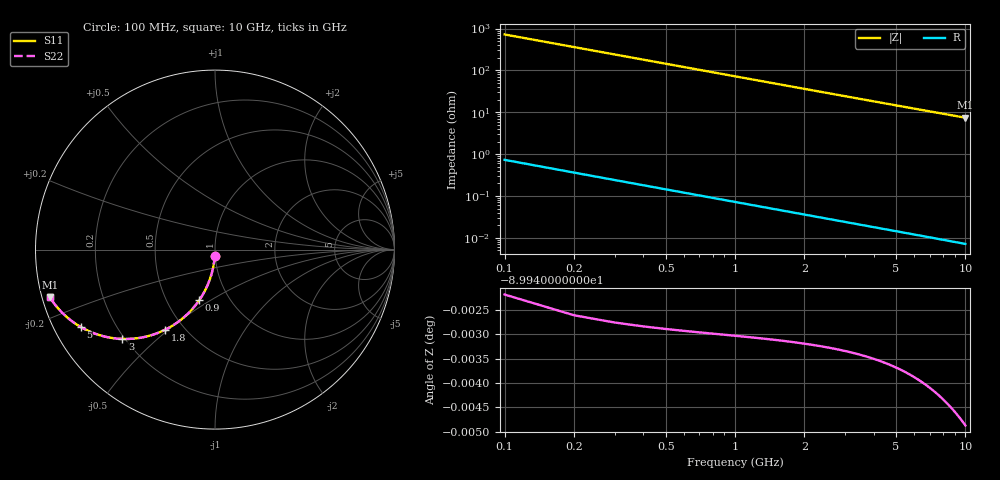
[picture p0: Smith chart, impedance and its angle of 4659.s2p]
# Hz S RI R 50.00
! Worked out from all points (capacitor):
!   100 points, 100 MHz to 10 GHz, reference 50 ohm
!   read as one part in shunt: C = 2.2 pF near 100 MHz
!   lowest |Z| = 7.43 ohm at 10 GHz (marker M1)
!   S11 on the Smith chart (normalised r, x): 100 MHz: 1.00, -0.07; 900 MHz: 0.72, -0.45; 1.8 GHz: 0.39, -0.49; 3 GHz: 0.19, -0.39; 5 GHz: 0.08, -0.27; 10 GHz: 0.02, -0.14
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1e8  -0.00122 -0.0345  0.9988 -0.0346  0.9988 -0.0346  -0.00122 -0.0345
2e8  -0.00481 -0.0687  0.9952 -0.0689  0.9952 -0.0689  -0.00481 -0.0687
3e8  -0.0107 -0.1024  0.9893 -0.1027  0.9893 -0.1027  -0.0107 -0.1024
4e8  -0.0189 -0.1354  0.9811 -0.1357  0.9811 -0.1357  -0.0189 -0.1354
5e8  -0.0291 -0.1674  0.9709 -0.1679  0.9709 -0.1679  -0.0291 -0.1674
6e8  -0.0413 -0.1983  0.9586 -0.1989  0.9586 -0.1989  -0.0413 -0.1983
7e8  -0.0554 -0.2279  0.9446 -0.2286  0.9446 -0.2286  -0.0554 -0.2279
9e8  -0.0882 -0.2827  0.9117 -0.2836  0.9117 -0.2836  -0.0882 -0.2827
1.1e9  -0.1262 -0.331  0.8738 -0.3321  0.8738 -0.3321  -0.1262 -0.331
1.3e9  -0.1677 -0.3724  0.8323 -0.3737  0.8323 -0.3737  -0.1677 -0.3724
1.5e9  -0.2113 -0.407  0.7887 -0.4084  0.7887 -0.4084  -0.2113 -0.407
1.8e9  -0.278 -0.4467  0.7219 -0.4484  0.7219 -0.4484  -0.278 -0.4467
2.4e9  -0.4057 -0.4894  0.5943 -0.4917  0.5943 -0.4917  -0.4057 -0.4894
3e9  -0.5155 -0.4978  0.4845 -0.5007  0.4845 -0.5007  -0.5155 -0.4978
3.4e9  -0.577 -0.4919  0.4229 -0.4952  0.4229 -0.4952  -0.577 -0.4919
4.2e9  -0.6749 -0.4659  0.3251 -0.47  0.3251 -0.47  -0.6749 -0.4659
5e9  -0.7458 -0.4324  0.2541 -0.4373  0.2541 -0.4373  -0.7458 -0.4324
5.1e9  -0.7532 -0.4281  0.2467 -0.4331  0.2467 -0.4331  -0.7532 -0.4281
5.9e9  -0.803 -0.3943  0.1969 -0.4001  0.1969 -0.4001  -0.803 -0.3943
6.7e9  -0.84 -0.3628  0.16 -0.3694  0.16 -0.3694  -0.84 -0.3628
8.4e9  -0.8917 -0.306  0.1082 -0.3144  0.1082 -0.3144  -0.8917 -0.306
1e10  -0.9211 -0.2641  0.0789 -0.2741  0.0789 -0.2741  -0.9211 -0.2641
